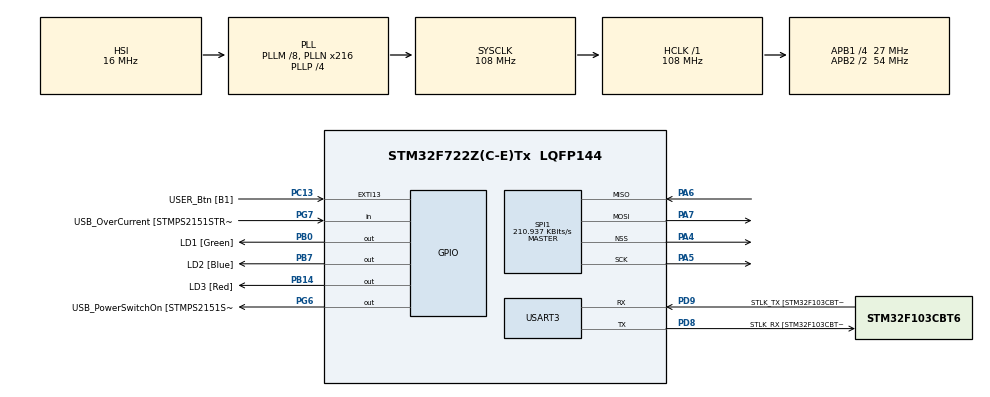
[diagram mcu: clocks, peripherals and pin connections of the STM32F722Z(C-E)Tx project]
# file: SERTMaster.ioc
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FREERTOS.Tasks01=defaultTask,0,128,StartDefaultTask,Default,NULL,Dynamic,NULL,NULL
FREERTOS.configUSE_NEWLIB_REENTRANT=1
Mcu.Family=STM32F7
Mcu.Name=STM32F722Z(C-E)Tx
Mcu.Package=LQFP144
NVIC.PriorityGroup=NVIC_PRIORITYGROUP_4
NVIC.TIM1_UP_TIM10_IRQn=true\:15\:0\:false\:false\:true\:false\:false\:true\:true
NVIC.TimeBase=TIM1_UP_TIM10_IRQn
NVIC.TimeBaseIP=TIM1
PA10.GPIO_Label=USB_ID
PA10.Signal=USB_OTG_FS_ID
PA11.GPIO_Label=USB_DM
PA11.Signal=USB_OTG_FS_DM
PA12.GPIO_Label=USB_DP
PA12.Signal=USB_OTG_FS_DP
PA13.GPIO_Label=TMS
PA13.Signal=SYS_JTMS-SWDIO
PA14.GPIO_Label=TCK
PA14.Signal=SYS_JTCK-SWCLK
PA4.GPIO_Speed=GPIO_SPEED_FREQ_MEDIUM
PA4.Mode=NSS_Signal_Hard_Output
PA4.Signal=SPI1_NSS
PA5.GPIO_Speed=GPIO_SPEED_FREQ_LOW
PA5.Mode=Full_Duplex_Master
PA5.Signal=SPI1_SCK
PA6.GPIO_Speed=GPIO_SPEED_FREQ_LOW
PA6.Mode=Full_Duplex_Master
PA6.Signal=SPI1_MISO
PA7.GPIO_Speed=GPIO_SPEED_FREQ_LOW
PA7.Mode=Full_Duplex_Master
PA7.Signal=SPI1_MOSI
PA8.GPIO_Label=USB_SOF [TP1]
PA8.Signal=USB_OTG_FS_SOF
PA9.GPIO_Label=USB_VBUS
PA9.Signal=USB_OTG_FS_VBUS
PB0.GPIO_Label=LD1 [Green]
PB0.Signal=GPIO_Output
PB14.GPIO_Label=LD3 [Red]
PB14.Signal=GPIO_Output
PB3.GPIO_Label=SWO
PB3.Signal=SYS_JTDO-SWO
PB7.GPIO_Label=LD2 [Blue]
PB7.Signal=GPIO_Output
PC13.GPIO_Label=USER_Btn [B1]
PC13.Signal=GPXTI13
PC14-OSC32_IN.Signal=RCC_OSC32_IN
PC15-OSC32_OUT.Signal=RCC_OSC32_OUT
PD8.GPIO_Label=STLK_RX [STM32F103CBT6_PA3]
PD8.Mode=Asynchronous
PD8.Signal=USART3_TX
PD9.GPIO_Label=STLK_TX [STM32F103CBT6_PA2]
PD9.Mode=Asynchronous
PD9.Signal=USART3_RX
PG6.GPIO_Label=USB_PowerSwitchOn [STMPS2151STR_EN]
PG6.Signal=GPIO_Output
PG7.GPIO_Label=USB_OverCurrent [STMPS2151STR_FAULT]
PG7.Signal=GPIO_Input
PH0-OSC_IN.GPIO_Label=MCO
PH0-OSC_IN.Signal=RCC_OSC_IN
ProjectManager.HeapSize=0x200
ProjectManager.StackSize=0x400
ProjectManager.TargetToolchain=STM32CubeIDE
RCC.48MHZClocksFreq_Value=24000000
RCC.AHBFreq_Value=108000000
RCC.APB1CLKDivider=RCC_HCLK_DIV4
RCC.APB1Freq_Value=27000000
RCC.APB1TimFreq_Value=54000000
RCC.APB2CLKDivider=RCC_HCLK_DIV2
RCC.APB2Freq_Value=54000000
RCC.APB2TimFreq_Value=108000000
RCC.CortexFreq_Value=108000000
RCC.HCLKFreq_Value=108000000
RCC.HSE_VALUE=8000000
RCC.HSI_VALUE=16000000
RCC.LSE_VALUE=32768
RCC.PLLM=8
RCC.PLLMUL=RCC_PLL_MUL9
RCC.PLLN=216
RCC.PLLP=RCC_PLLP_DIV4
RCC.PLLQ=9
RCC.PRESCALERUSB=RCC_USBCLKSOURCE_PLL_DIV1_5
RCC.SYSCLKFreq_VALUE=108000000
RCC.SYSCLKSource=RCC_SYSCLKSOURCE_PLLCLK
RCC.SYSCLKSourceVirtual=RCC_SYSCLKSOURCE_PLLCLK
RCC.USBFreq_Value=48000000
RCC.VCOOutputFreq_Value=432000000
SPI1.BaudRatePrescaler=SPI_BAUDRATEPRESCALER_256
SPI1.CalculateBaudRate=210.937 KBits/s
SPI1.DataSize=SPI_DATASIZE_8BIT
SPI1.Direction=SPI_DIRECTION_2LINES
SPI1.Mode=SPI_MODE_MASTER
SPI1.VirtualNSS=VM_NSSHARD
SPI1.VirtualType=VM_MASTER
USART3.VirtualMode-Asynchronous=VM_ASYNC
VP_FREERTOS_VS_CMSIS_V1.Mode=CMSIS_V1
VP_SYS_VS_tim1.Mode=TIM1
board=NUCLEO-F722ZE

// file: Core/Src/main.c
/* USER CODE BEGIN Header */
/**
  ******************************************************************************
  * @file           : main.c
  * @brief          : Main program body
  ******************************************************************************
  * @attention
  *
  * Copyright (c) 2023 STMicroelectronics.
  * All rights reserved.
  *
  * This software is licensed under terms that can be found in the LICENSE file
  * in the root directory of this software component.
  * If no LICENSE file comes with this software, it is provided AS-IS.
  *
  ******************************************************************************
  */
/* USER CODE END Header */
#include "main.h"
#include "cmsis_os.h"

/* USER CODE BEGIN Includes */
#include <string.h>
#include <stdio.h>
#include <stdlib.h>
#include <stdarg.h>
/* USER CODE END Includes */

/* USER CODE BEGIN PTD */
HAL_StatusTypeDef ret;
/* USER CODE END PTD */

/* USER CODE BEGIN PD */
#define TS 50

#define TASK_SPI_PRIO 				osPriorityRealtime
#define TASK_HEARTBEAT_PRIO			osPriorityNormal

#define TASK_SPI_PERIOD				50
#define TASK_HEARTBEAT_PERIOD		1000

#define TASK_SPI_DEADLINE			TASK_SPI_PERIOD
#define TASK_PID_DEADLINE			TASK_PID_PERIOD
#define TASK_HEARTBEAT_DEADLINE		TASK_HEARTBEAT_PERIOD

#define PANIC_PERIOD				100

#define time_after(a,b) 			((long)((b)-(a))<0)
#define time_before(a,b) 			time_after(b,a)
#define time_after_eq(a,b) 			((long)((a)-(b))>=0)
#define time_before_eq(a,b) 		time_after_eq(b,a)
#define TASK_SPI_TIMER				40
#define max(a,b)             \
({                           \
    __typeof__ (a) _a = (a); \
    __typeof__ (b) _b = (b); \
    _a > _b ? _a : _b;       \
})

#define min(a,b)             \
({                           \
    __typeof__ (a) _a = (a); \
    __typeof__ (b) _b = (b); \
    _a < _b ? _a : _b;       \
})
/* USER CODE END PD */

SPI_HandleTypeDef hspi1;

UART_HandleTypeDef huart3;

osThreadId defaultTaskHandle;
/* USER CODE BEGIN PV */
osThreadId task_SPIHandle;
osThreadId task_PIDHandle;
osThreadId task_HeartbeatHandle;

SemaphoreHandle_t CountingSem;
/* USER CODE END PV */

void SystemClock_Config(void);
static void MX_GPIO_Init(void);
static void MX_SPI1_Init(void);
static void MX_USART3_UART_Init(void);
void StartDefaultTask(void const * argument);

/* USER CODE BEGIN 0 */
uint8_t data_tx = 1;
uint8_t data_rx = 0;
uint8_t new_encoder[16];
uint32_t newTick = 0, oldTick = 0;

/* pseudoDerivative variables ------------------------------------------------*/
int mediana;
int reset;
double counter;
double temp1;
double temp2;
uint8_t mybuffer[10];

/* PID variables -------------------------------------------------------------*/
double Kp = 1.1;
double Ki = 0.1;
double Kd = 1.5;
double S_u = 156;
double S_du = 1;
double S_i = 100;
double target = 200;
uint8_t u = 0;
double error = 0;
double d_error = 0;
double controlDeadzone = 41;
double PID_timeOn = 0;

int d = 10;
int c = 3;

uint8_t x_integral[1];
double u_internal;
double u_noint;
double d_integral;
double theta;
double xhat_integral;
double u_tot;

uint8_t enc_value = 0;

/* Private variables ---------------------------------------------------------*/

SPI_HandleTypeDef hspi1;

UART_HandleTypeDef huart3;

osThreadId defaultTaskHandle;
/* USER CODE BEGIN PV */
osThreadId task_SPIReceiveHandle;
osThreadId task_SPITransmitHandle;
osThreadId task_PIDHandle;
osThreadId task_HeartbeatHandle;

/* USER CODE END PV */

/* Private function prototypes -----------------------------------------------*/

/* USER CODE BEGIN PFP */
void start_task_spi(void const * argument);
void start_task_heartbeat(void const * argument);
void panic(void);
double pseudoDerivative(double e, int d, int c);
double PID(unsigned int t, double e, double de, double Kp, double Ki, double Kd, double S_u, double S_du, double S_i, double PID_timeOn);
/* USER CODE END PFP */

/* Private user code ---------------------------------------------------------*/
/* USER CODE BEGIN 0 */

#ifdef __GNUC__
#define PUTCHAR_PROTOTYPE int __io_putchar(int ch)
#else
#define PUTCHAR_PROTOTYPE int fputc(int ch, FILE *f)
#endif
/* USER CODE END 0 */

int main(void)
{

  /* MCU Configuration--------------------------------------------------------*/

  /* Reset of all peripherals, Initializes the Flash interface and the Systick. */
  HAL_Init();

  /* Configure the system clock */
  SystemClock_Config();

  /* Initialize all configured peripherals */
  MX_GPIO_Init();
  MX_SPI1_Init();
  MX_USART3_UART_Init();

  /* Create the thread(s) */
  /* definition and creation of defaultTask */
  osThreadDef(defaultTask, StartDefaultTask, osPriorityNormal, 0, 128);
  defaultTaskHandle = osThreadCreate(osThread(defaultTask), NULL);

  /* USER CODE BEGIN RTOS_THREADS */
  /* add threads, ... */
  osThreadDef(task_spi, start_task_spi, TASK_SPI_PRIO , 0, 128);
  task_SPITransmitHandle = osThreadCreate(osThread(task_spi), NULL);

  osThreadDef(task_heartbeat, start_task_heartbeat, TASK_HEARTBEAT_PRIO, 0, 128);
  task_HeartbeatHandle = osThreadCreate(osThread(task_heartbeat), NULL);
  /* USER CODE END RTOS_THREADS */

  /* Start scheduler */
  osKernelStart();

  /* We should never get here as control is now taken by the scheduler */
  /* Infinite loop */
  while (1)
  {

  }
}

void SystemClock_Config(void)
{
  RCC_OscInitTypeDef RCC_OscInitStruct = {0};
  RCC_ClkInitTypeDef RCC_ClkInitStruct = {0};

  /** Configure the main internal regulator output voltage
  */
  __HAL_RCC_PWR_CLK_ENABLE();
  __HAL_PWR_VOLTAGESCALING_CONFIG(PWR_REGULATOR_VOLTAGE_SCALE3);

  /** Initializes the RCC Oscillators according to the specified parameters
  * in the RCC_OscInitTypeDef structure.
  */
  RCC_OscInitStruct.OscillatorType = RCC_OSCILLATORTYPE_HSI;
  RCC_OscInitStruct.HSIState = RCC_HSI_ON;
  RCC_OscInitStruct.HSICalibrationValue = RCC_HSICALIBRATION_DEFAULT;
  RCC_OscInitStruct.PLL.PLLState = RCC_PLL_ON;
  RCC_OscInitStruct.PLL.PLLSource = RCC_PLLSOURCE_HSI;
  RCC_OscInitStruct.PLL.PLLM = 8;
  RCC_OscInitStruct.PLL.PLLN = 216;
  RCC_OscInitStruct.PLL.PLLP = RCC_PLLP_DIV4;
  RCC_OscInitStruct.PLL.PLLQ = 9;
  if (HAL_RCC_OscConfig(&RCC_OscInitStruct) != HAL_OK)
  {
    Error_Handler();
  }

  /** Initializes the CPU, AHB and APB buses clocks
  */
  RCC_ClkInitStruct.ClockType = RCC_CLOCKTYPE_HCLK|RCC_CLOCKTYPE_SYSCLK
                              |RCC_CLOCKTYPE_PCLK1|RCC_CLOCKTYPE_PCLK2;
  RCC_ClkInitStruct.SYSCLKSource = RCC_SYSCLKSOURCE_PLLCLK;
  RCC_ClkInitStruct.AHBCLKDivider = RCC_SYSCLK_DIV1;
  RCC_ClkInitStruct.APB1CLKDivider = RCC_HCLK_DIV4;
  RCC_ClkInitStruct.APB2CLKDivider = RCC_HCLK_DIV2;

  if (HAL_RCC_ClockConfig(&RCC_ClkInitStruct, FLASH_LATENCY_3) != HAL_OK)
  {
    Error_Handler();
  }
}

static void MX_SPI1_Init(void)
{

  /* SPI1 parameter configuration*/
  hspi1.Instance = SPI1;
  hspi1.Init.Mode = SPI_MODE_MASTER;
  hspi1.Init.Direction = SPI_DIRECTION_2LINES;
  hspi1.Init.DataSize = SPI_DATASIZE_8BIT;
  hspi1.Init.CLKPolarity = SPI_POLARITY_LOW;
  hspi1.Init.CLKPhase = SPI_PHASE_1EDGE;
  hspi1.Init.NSS = SPI_NSS_HARD_OUTPUT;
  hspi1.Init.BaudRatePrescaler = SPI_BAUDRATEPRESCALER_256;
  hspi1.Init.FirstBit = SPI_FIRSTBIT_MSB;
  hspi1.Init.TIMode = SPI_TIMODE_DISABLE;
  hspi1.Init.CRCCalculation = SPI_CRCCALCULATION_DISABLE;
  hspi1.Init.CRCPolynomial = 7;
  hspi1.Init.CRCLength = SPI_CRC_LENGTH_DATASIZE;
  hspi1.Init.NSSPMode = SPI_NSS_PULSE_ENABLE;
  if (HAL_SPI_Init(&hspi1) != HAL_OK)
  {
    Error_Handler();
  }

}

static void MX_USART3_UART_Init(void)
{

  huart3.Instance = USART3;
  huart3.Init.BaudRate = 115200;
  huart3.Init.WordLength = UART_WORDLENGTH_8B;
  huart3.Init.StopBits = UART_STOPBITS_1;
  huart3.Init.Parity = UART_PARITY_NONE;
  huart3.Init.Mode = UART_MODE_TX_RX;
  huart3.Init.HwFlowCtl = UART_HWCONTROL_NONE;
  huart3.Init.OverSampling = UART_OVERSAMPLING_16;
  huart3.Init.OneBitSampling = UART_ONE_BIT_SAMPLE_DISABLE;
  huart3.AdvancedInit.AdvFeatureInit = UART_ADVFEATURE_NO_INIT;
  if (HAL_UART_Init(&huart3) != HAL_OK)
  {
    Error_Handler();
  }

}

static void MX_GPIO_Init(void)
{
  GPIO_InitTypeDef GPIO_InitStruct = {0};

  /* GPIO Ports Clock Enable */
  __HAL_RCC_GPIOC_CLK_ENABLE();
  __HAL_RCC_GPIOH_CLK_ENABLE();
  __HAL_RCC_GPIOA_CLK_ENABLE();
  __HAL_RCC_GPIOB_CLK_ENABLE();
  __HAL_RCC_GPIOD_CLK_ENABLE();
  __HAL_RCC_GPIOG_CLK_ENABLE();

  /*Configure GPIO pin Output Level */
  HAL_GPIO_WritePin(GPIOB, LD1_Pin|LD3_Pin|LD2_Pin, GPIO_PIN_RESET);

  /*Configure GPIO pin Output Level */
  HAL_GPIO_WritePin(USB_PowerSwitchOn_GPIO_Port, USB_PowerSwitchOn_Pin, GPIO_PIN_RESET);

  /*Configure GPIO pin : USER_Btn_Pin */
  GPIO_InitStruct.Pin = USER_Btn_Pin;
  GPIO_InitStruct.Mode = GPIO_MODE_IT_RISING;
  GPIO_InitStruct.Pull = GPIO_NOPULL;
  HAL_GPIO_Init(USER_Btn_GPIO_Port, &GPIO_InitStruct);

  /*Configure GPIO pins : LD1_Pin LD3_Pin LD2_Pin */
  GPIO_InitStruct.Pin = LD1_Pin|LD3_Pin|LD2_Pin;
  GPIO_InitStruct.Mode = GPIO_MODE_OUTPUT_PP;
  GPIO_InitStruct.Pull = GPIO_NOPULL;
  GPIO_InitStruct.Speed = GPIO_SPEED_FREQ_LOW;
  HAL_GPIO_Init(GPIOB, &GPIO_InitStruct);

  /*Configure GPIO pin : USB_PowerSwitchOn_Pin */
  GPIO_InitStruct.Pin = USB_PowerSwitchOn_Pin;
  GPIO_InitStruct.Mode = GPIO_MODE_OUTPUT_PP;
  GPIO_InitStruct.Pull = GPIO_NOPULL;
  GPIO_InitStruct.Speed = GPIO_SPEED_FREQ_LOW;
  HAL_GPIO_Init(USB_PowerSwitchOn_GPIO_Port, &GPIO_InitStruct);

  /*Configure GPIO pin : USB_OverCurrent_Pin */
  GPIO_InitStruct.Pin = USB_OverCurrent_Pin;
  GPIO_InitStruct.Mode = GPIO_MODE_INPUT;
  GPIO_InitStruct.Pull = GPIO_NOPULL;
  HAL_GPIO_Init(USB_OverCurrent_GPIO_Port, &GPIO_InitStruct);

  /*Configure GPIO pins : USB_SOF_Pin USB_ID_Pin USB_DM_Pin USB_DP_Pin */
  GPIO_InitStruct.Pin = USB_SOF_Pin|USB_ID_Pin|USB_DM_Pin|USB_DP_Pin;
  GPIO_InitStruct.Mode = GPIO_MODE_AF_PP;
  GPIO_InitStruct.Pull = GPIO_NOPULL;
  GPIO_InitStruct.Speed = GPIO_SPEED_FREQ_VERY_HIGH;
  GPIO_InitStruct.Alternate = GPIO_AF10_OTG_FS;
  HAL_GPIO_Init(GPIOA, &GPIO_InitStruct);

  /*Configure GPIO pin : USB_VBUS_Pin */
  GPIO_InitStruct.Pin = USB_VBUS_Pin;
  GPIO_InitStruct.Mode = GPIO_MODE_INPUT;
  GPIO_InitStruct.Pull = GPIO_NOPULL;
  HAL_GPIO_Init(USB_VBUS_GPIO_Port, &GPIO_InitStruct);

}

/* USER CODE BEGIN 4 */
void start_task_spi(void const * argument)
{
	TickType_t xLastWakeTime;
	TickType_t xTick;
	const TickType_t xPeriod = pdMS_TO_TICKS(TASK_SPI_PERIOD);

	for(;;)
	{
		HAL_GPIO_WritePin(GPIOA, GPIO_PIN_4, GPIO_PIN_RESET);

		/* SPI_Receive: data from slave */

		ret = HAL_SPI_Receive(&hspi1, (uint8_t *)&enc_value, (uint16_t)1, TASK_SPI_TIMER);

		 //---------------- START PID CODE -------------------//
		error = target - (double)enc_value;
		d_error = pseudoDerivative(error, d, c);
		enc_value = PID(newTick, error, d_error, Kp, Ki, Kd, S_u, S_du, S_i, PID_timeOn);

		//printf("%lu\n",enc_value);

		if (enc_value < controlDeadzone)
		{
			enc_value = 0;
		}

		//---------------- END PID CODE -------------------//

		if (ret == HAL_OK)
		{
			//printf("Task SPI: Receive OK\n");
			//printf("dato tx: %u\n", data_rx);
			//printf("dato rx: %u\n", data_rx);
		}
		else if (ret == HAL_ERROR)
		{
			printf("Error\n");
		}
		else if (ret == HAL_BUSY)
		{
			printf("Busy\n");
		}
		else if (ret == HAL_TIMEOUT)
		{
			printf("Timeout\n");

		 }

		//xSemaphoreTake(CountingSem, portMAX_DELAY);

		/* SPI_Transmit: control to slave */

		ret = HAL_SPI_Transmit(&hspi1, (uint8_t *)&enc_value, (uint16_t)1, HAL_MAX_DELAY);

		while(HAL_SPI_GetState(&hspi1) != HAL_SPI_STATE_READY);

		if (ret == HAL_OK)
		{
			//HAL_GPIO_TogglePin(LED1_GPIO_Port, LED1_Pin);
			//printf("MASTER: Task SPI: Transmit OK dato : %u\n", enc_value);
			//HAL_GPIO_TogglePin(GPIOB, GPIO_PIN_7);
			//HAL_Delay(100);
		}
		else if (ret == HAL_ERROR)
		{
			printf("Error\n");
		}
		else if (ret == HAL_BUSY)
		{
			printf("Busy\n");
		}
		else if (ret == HAL_TIMEOUT)
		{
			printf("Timeout\n");
		}

		HAL_GPIO_WritePin(GPIOA, GPIO_PIN_4, GPIO_PIN_SET);

		xTick = HAL_GetTick();
		if (time_after(xTick, TASK_SPI_DEADLINE + xLastWakeTime))
		{
			printf("Task SPI: Deadline not respected\n");
			panic();
		}

		vTaskDelayUntil(&xLastWakeTime, xPeriod);
	}
}
void panic(void)
{
	for(;;)
	{
		HAL_GPIO_TogglePin(GPIOB, GPIO_PIN_7);
		HAL_Delay(PANIC_PERIOD);
	}
}

PUTCHAR_PROTOTYPE
{
  HAL_UART_Transmit(&huart3, (uint8_t *)&ch, 1, 0xFFFF);

  return ch;
}

void start_task_heartbeat(void const * argument)
{
	TickType_t xLastWakeTime;
	TickType_t xTick;
	const TickType_t xPeriod = pdMS_TO_TICKS(TASK_HEARTBEAT_PERIOD);

	for(;;)
	{
		HAL_GPIO_TogglePin(GPIOB, GPIO_PIN_0);
		//printf("HeartNeat Attivato\n");
		xTick = HAL_GetTick();
		if (time_after(xTick, TASK_HEARTBEAT_DEADLINE + xLastWakeTime))
		{
			//printf("Task Heartbeat: Deadline not respected\n");
			panic();
		}

		//printf("Task Heartbeat: OK\n");

		vTaskDelayUntil(&xLastWakeTime,xPeriod);
	}
}

double pseudoDerivative(double e, int d, int c)
{
  int i, j, k, num_empty = 0;

  mediana = 0;
  reset = 0;

  for (i = 0; i < 10; i++)
  {
	  if (mybuffer[i] == 0)
	  {
		  num_empty++;
	  }
  }
  if (num_empty == 10)
  {
	  reset = 1;
  }

  if (reset == 1)
  {
    for (i = 0; i < d; i++)
    {
      mybuffer[i] = 0;
    }
    counter = 0;
  }

  counter = counter + 1;

  for (k = 0; k < d - 1; k++)
  {
    mybuffer[k] = mybuffer[k + 1];
  }

  mybuffer[d] = e;

  if (counter >= d)
  {
    if (mediana == 1)
    {
      uint8_t mybuffer1[10];
      for (i = 0; i < d; i++)
      {
        mybuffer1[i] = mybuffer[i];
      }

      int min = 0;
      int temp = 0;
      for (int i = 0; i < d - 1; i++)
      {
        min = i;

        for (j = i + 1; j < d; j++)
        {
          if (mybuffer1[j] < mybuffer1[min])
          {
            min = j;
          }
          temp = mybuffer1[min];
          mybuffer1[min] = mybuffer1[i];
          mybuffer1[i] = temp;
        }
      }

      if (c % 2 != 0)
      {
        temp1 = mybuffer1[(c + 1) / 2];
        temp2 = mybuffer1[d - c + (c + 1) / 2];
      }
      else
      {
        temp1 = (mybuffer1[c / 2] + mybuffer1[(c + 1) / 2]) / 2;
        temp2 = (mybuffer1[d - c + c / 2] + mybuffer1[d - c + c / 2 + 1]) / 2;
      }
    }
    else
    {
      temp1 = 0;
      for (i = 0; i < c; i++)
      {
        temp1 = temp1 + mybuffer[i];
      }
      temp1 = temp1 / c;

      temp2 = 0;
      for (i = d - c + 1; i < d; i++)
      {
        temp2 = temp2 + mybuffer[i];
      }
      temp2 = temp2 / c;
    }
    d_error = (temp2 - temp1) / (TS * (d - c));
  }
  else
  {
    d_error = 0;
  }
  return d_error;
}

double PID(unsigned int t, double e, double de, double Kp, double Ki, double Kd, double S_u, double S_du, double S_i, double PID_timeOn)
{
  if (x_integral[0] == 0)
  {
    x_integral[0] = 0;
    u_internal = Kp * e;
  }

  if (t >= PID_timeOn)
  {
    u_noint =  Kp * e +  Kd * de;
    d_integral =  Ki * e * TS;

    xhat_integral = x_integral[0] + d_integral;
    theta =  S_u - abs(u_noint + xhat_integral);
    if (theta < 0)
    {
      if ( abs(u_noint + xhat_integral) < abs(u_noint + x_integral[0]))
      {
        x_integral[0] = xhat_integral;
      }
    }
    else
    {
      x_integral[0] = xhat_integral;
    }

    x_integral[0] = max(- S_i, min( S_i, x_integral[0]));

    u_tot = max(- S_u, min( S_u, u_noint + x_integral[0]));

    u_internal = u_internal + max(- S_du, min( S_du, u_tot - u_internal));
  }
  u = u_internal;

  return u;
}

/* USER CODE END 4 */

void StartDefaultTask(void const * argument)
{
  for(;;)
  {
    osDelay(1);
  }
}

void HAL_TIM_PeriodElapsedCallback(TIM_HandleTypeDef *htim)
{
  if (htim->Instance == TIM1) {
    HAL_IncTick();
  }
}

void Error_Handler(void)
{
  __disable_irq();
  while (1)
  {
  }
}
